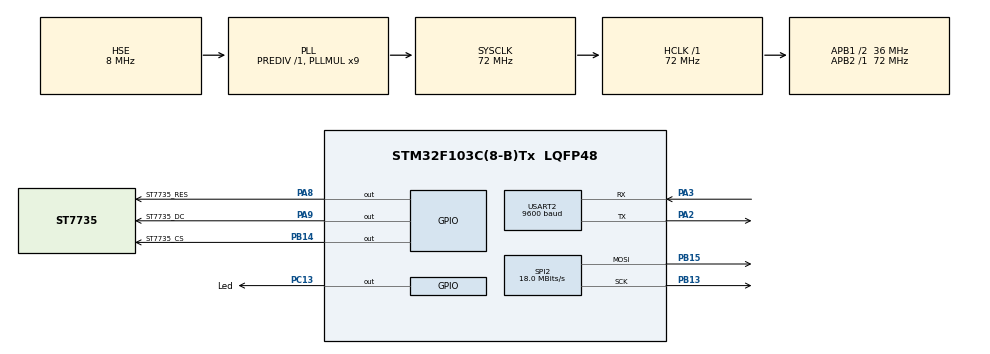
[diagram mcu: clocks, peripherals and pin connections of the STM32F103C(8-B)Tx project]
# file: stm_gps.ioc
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Mcu.Family=STM32F1
Mcu.Name=STM32F103C(8-B)Tx
Mcu.Package=LQFP48
NVIC.PriorityGroup=NVIC_PRIORITYGROUP_4
NVIC.USART2_IRQn=true\:0\:0\:false\:false\:true\:true\:true\:true
PA13.Mode=Serial_Wire
PA13.Signal=SYS_JTMS-SWDIO
PA14.Mode=Serial_Wire
PA14.Signal=SYS_JTCK-SWCLK
PA2.Mode=Asynchronous
PA2.Signal=USART2_TX
PA3.Mode=Asynchronous
PA3.Signal=USART2_RX
PA8.GPIO_Label=ST7735_RES
PA8.GPIO_Speed=GPIO_SPEED_FREQ_HIGH
PA8.PinState=GPIO_PIN_RESET
PA8.Signal=GPIO_Output
PA9.GPIO_Label=ST7735_DC
PA9.GPIO_Speed=GPIO_SPEED_FREQ_HIGH
PA9.Signal=GPIO_Output
PB13.Mode=TX_Only_Simplex_Unidirect_Master
PB13.Signal=SPI2_SCK
PB14.GPIO_Label=ST7735_CS
PB14.GPIO_Speed=GPIO_SPEED_FREQ_HIGH
PB14.Signal=GPIO_Output
PB15.Mode=TX_Only_Simplex_Unidirect_Master
PB15.Signal=SPI2_MOSI
PC13-TAMPER-RTC.GPIO_Label=Led
PC13-TAMPER-RTC.Signal=GPIO_Output
PD0-OSC_IN.Mode=HSE-External-Oscillator
PD0-OSC_IN.Signal=RCC_OSC_IN
PD1-OSC_OUT.Mode=HSE-External-Oscillator
PD1-OSC_OUT.Signal=RCC_OSC_OUT
ProjectManager.HeapSize=0x200
ProjectManager.StackSize=0x400
ProjectManager.TargetToolchain=Makefile
RCC.AHBFreq_Value=72000000
RCC.APB1CLKDivider=RCC_HCLK_DIV2
RCC.APB1Freq_Value=36000000
RCC.APB1TimFreq_Value=72000000
RCC.APB2Freq_Value=72000000
RCC.APB2TimFreq_Value=72000000
RCC.HCLKFreq_Value=72000000
RCC.PLLMUL=RCC_PLL_MUL9
RCC.PLLSourceVirtual=RCC_PLLSOURCE_HSE
RCC.SYSCLKFreq_VALUE=72000000
RCC.SYSCLKSource=RCC_SYSCLKSOURCE_PLLCLK
RCC.USBFreq_Value=72000000
SPI2.CalculateBaudRate=18.0 MBits/s
SPI2.Direction=SPI_DIRECTION_2LINES
SPI2.Mode=SPI_MODE_MASTER
SPI2.VirtualType=VM_MASTER
USART2.BaudRate=9600
USART2.VirtualMode=VM_ASYNC
board=custom

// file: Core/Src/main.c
/* USER CODE BEGIN Header */
/**
  ******************************************************************************
  * @file           : main.c
  * @brief          : Main program body
  ******************************************************************************
  * @attention
  *
  * Copyright (c) 2023 STMicroelectronics.
  * All rights reserved.
  *
  * This software is licensed under terms that can be found in the LICENSE file
  * in the root directory of this software component.
  * If no LICENSE file comes with this software, it is provided AS-IS.
  *
  ******************************************************************************
  */
/* USER CODE END Header */
#include "main.h"

/* USER CODE BEGIN Includes */
#include "st7735.h"
#include "fonts.h"
#include "gps.h"
#include "stm32f1xx_hal_gpio.h"
#include "stm32f1xx_hal_uart.h"
#include <stdbool.h>
#include <stdint.h>
#include <stdlib.h>
#include <string.h>
#include <stdio.h>
/* USER CODE END Includes */

SPI_HandleTypeDef hspi2;

UART_HandleTypeDef huart2;

/* USER CODE BEGIN PV */
ucg_t ucg;
GPGGA_t gps;
volatile char rx_char;
volatile uint8_t rx_buffer[USART_RX_BUFFER_SIZE];
volatile uint8_t rx_idx = 0;
volatile uint8_t receive_data = 0;
uint16_t xpos = 0;
uint16_t ypos = 0;
uint8_t time_zone;
const uint8_t tzone = 2;
/* USER CODE END PV */

void SystemClock_Config(void);
static void MX_GPIO_Init(void);
static void MX_USART2_UART_Init(void);
static void MX_SPI2_Init(void);

int main(void)
{

    /* MCU Configuration--------------------------------------------------------*/

    /* Reset of all peripherals, Initializes the Flash interface and the Systick. */
    HAL_Init();

    /* Configure the system clock */
    SystemClock_Config();

    /* Initialize all configured peripherals */
    MX_GPIO_Init();
    MX_USART2_UART_Init();
    MX_SPI2_Init();
    /* USER CODE BEGIN 2 */
    ucg_Init(&ucg);
    HAL_UART_Transmit_IT(&huart2, (uint8_t*)"Hello, world!\r\n", 15);
    HAL_UART_Receive_IT(&huart2, (uint8_t*)&rx_char, 1);
    /* USER CODE END 2 */

    /* Infinite loop */
    /* USER CODE BEGIN WHILE */
    while (1)
    {
        if (receive_data) {
            if (gps_parsing(&gps, (uint8_t*)rx_buffer)) {
                ucg_SetForeColor(&ucg, C_RED);
                ypos = ucg.font->chars->image->height + 1;
                if (!gps.time[0]) {
                    ucg_SetForeColor(&ucg, C_BLACK);
                    ucg_FillRectangle(&ucg, xpos + 1, 0, ST7735_WIDTH - xpos, ucg.font->chars->image->height);
                    ucg_SetForeColor(&ucg, C_RED);
                }
                gps.time[8] = 0;
                gps.time[7] = gps.time[5];
                gps.time[6] = gps.time[4];
                gps.time[5] = ':';
                gps.time[4] = gps.time[3];
                gps.time[3] = gps.time[2];
                gps.time[2] = ':';
                time_zone = (gps.time[0] - '0') * 10 + (gps.time[1] - '0');
                time_zone += 2;
                if (time_zone >= 24) {
                    time_zone -= 24;
                }
                gps.time[0] = time_zone / 10 + '0';
                gps.time[1] = time_zone % 10 + '0';
                xpos = ucg_WriteString(&ucg, 0, 0, (char*)gps.time);
                ucg_SetForeColor(&ucg, C_YELLOW);
                xpos = ucg_WriteString(&ucg, xpos + 20, 0, "Sat:");
                if (!gps.num_satelites[0]) {
                    ucg_SetForeColor(&ucg, C_BLACK);
                    ucg_FillRectangle(&ucg, xpos + 2, 0, ST7735_WIDTH - xpos, ucg.font->chars->image->height);
                    ucg_SetForeColor(&ucg, C_YELLOW);
                }
                ucg_WriteString(&ucg, xpos + 2, 0, (char*)gps.num_satelites);
                ucg_SetForeColor(&ucg, C_GREEN);
                ypos = ucg.font->chars->image->height + 1;
                xpos = ucg_WriteString(&ucg, 0, ypos, "Lat:");
                if (!gps.latitude[0]) {
                    ucg_SetForeColor(&ucg, C_BLACK);
                    ucg_FillRectangle(&ucg, xpos + 1, ypos, ST7735_WIDTH - xpos, ucg.font->chars->image->height);
                    ucg_SetForeColor(&ucg, C_GREEN);
                }
                ucg_WriteString(&ucg, xpos + 2, ypos, (char*)gps.latitude);
                xpos = ucg_WriteString(&ucg, 0, ypos * 2, "Log:");
                if (!gps.longitude[0]) {
                    ucg_SetForeColor(&ucg, C_BLACK);
                    ucg_FillRectangle(&ucg, xpos + 1, ypos * 2, ST7735_WIDTH - xpos, ucg.font->chars->image->height);
                    ucg_SetForeColor(&ucg, C_GREEN);
                }
                ucg_WriteString(&ucg, xpos + 2, ypos * 2, (char*)gps.longitude);
            }
            receive_data = false;
        }
        /* USER CODE END WHILE */

    }
}

void SystemClock_Config(void)
{
    RCC_OscInitTypeDef RCC_OscInitStruct = {0};
    RCC_ClkInitTypeDef RCC_ClkInitStruct = {0};

    /** Initializes the RCC Oscillators according to the specified parameters
     * in the RCC_OscInitTypeDef structure.
     */
    RCC_OscInitStruct.OscillatorType = RCC_OSCILLATORTYPE_HSE;
    RCC_OscInitStruct.HSEState = RCC_HSE_ON;
    RCC_OscInitStruct.HSEPredivValue = RCC_HSE_PREDIV_DIV1;
    RCC_OscInitStruct.HSIState = RCC_HSI_ON;
    RCC_OscInitStruct.PLL.PLLState = RCC_PLL_ON;
    RCC_OscInitStruct.PLL.PLLSource = RCC_PLLSOURCE_HSE;
    RCC_OscInitStruct.PLL.PLLMUL = RCC_PLL_MUL9;
    if (HAL_RCC_OscConfig(&RCC_OscInitStruct) != HAL_OK)
    {
        Error_Handler();
    }

    /** Initializes the CPU, AHB and APB buses clocks
    */
    RCC_ClkInitStruct.ClockType = RCC_CLOCKTYPE_HCLK|RCC_CLOCKTYPE_SYSCLK
        |RCC_CLOCKTYPE_PCLK1|RCC_CLOCKTYPE_PCLK2;
    RCC_ClkInitStruct.SYSCLKSource = RCC_SYSCLKSOURCE_PLLCLK;
    RCC_ClkInitStruct.AHBCLKDivider = RCC_SYSCLK_DIV1;
    RCC_ClkInitStruct.APB1CLKDivider = RCC_HCLK_DIV2;
    RCC_ClkInitStruct.APB2CLKDivider = RCC_HCLK_DIV1;

    if (HAL_RCC_ClockConfig(&RCC_ClkInitStruct, FLASH_LATENCY_2) != HAL_OK)
    {
        Error_Handler();
    }
}

static void MX_SPI2_Init(void)
{

    /* SPI2 parameter configuration*/
    hspi2.Instance = SPI2;
    hspi2.Init.Mode = SPI_MODE_MASTER;
    hspi2.Init.Direction = SPI_DIRECTION_2LINES;
    hspi2.Init.DataSize = SPI_DATASIZE_8BIT;
    hspi2.Init.CLKPolarity = SPI_POLARITY_LOW;
    hspi2.Init.CLKPhase = SPI_PHASE_1EDGE;
    hspi2.Init.NSS = SPI_NSS_SOFT;
    hspi2.Init.BaudRatePrescaler = SPI_BAUDRATEPRESCALER_2;
    hspi2.Init.FirstBit = SPI_FIRSTBIT_MSB;
    hspi2.Init.TIMode = SPI_TIMODE_DISABLE;
    hspi2.Init.CRCCalculation = SPI_CRCCALCULATION_DISABLE;
    hspi2.Init.CRCPolynomial = 10;
    if (HAL_SPI_Init(&hspi2) != HAL_OK)
    {
        Error_Handler();
    }

}

static void MX_USART2_UART_Init(void)
{

    huart2.Instance = USART2;
    huart2.Init.BaudRate = 9600;
    huart2.Init.WordLength = UART_WORDLENGTH_8B;
    huart2.Init.StopBits = UART_STOPBITS_1;
    huart2.Init.Parity = UART_PARITY_NONE;
    huart2.Init.Mode = UART_MODE_TX_RX;
    huart2.Init.HwFlowCtl = UART_HWCONTROL_NONE;
    huart2.Init.OverSampling = UART_OVERSAMPLING_16;
    if (HAL_UART_Init(&huart2) != HAL_OK)
    {
        Error_Handler();
    }

}

static void MX_GPIO_Init(void)
{
    GPIO_InitTypeDef GPIO_InitStruct = {0};

    /* GPIO Ports Clock Enable */
    __HAL_RCC_GPIOC_CLK_ENABLE();
    __HAL_RCC_GPIOD_CLK_ENABLE();
    __HAL_RCC_GPIOA_CLK_ENABLE();
    __HAL_RCC_GPIOB_CLK_ENABLE();

    /*Configure GPIO pin Output Level */
    HAL_GPIO_WritePin(Led_GPIO_Port, Led_Pin, GPIO_PIN_RESET);

    /*Configure GPIO pin Output Level */
    HAL_GPIO_WritePin(ST7735_CS_GPIO_Port, ST7735_CS_Pin, GPIO_PIN_RESET);

    /*Configure GPIO pin Output Level */
    HAL_GPIO_WritePin(GPIOA, ST7735_RES_Pin|ST7735_DC_Pin, GPIO_PIN_RESET);

    /*Configure GPIO pin : Led_Pin */
    GPIO_InitStruct.Pin = Led_Pin;
    GPIO_InitStruct.Mode = GPIO_MODE_OUTPUT_PP;
    GPIO_InitStruct.Pull = GPIO_NOPULL;
    GPIO_InitStruct.Speed = GPIO_SPEED_FREQ_LOW;
    HAL_GPIO_Init(Led_GPIO_Port, &GPIO_InitStruct);

    /*Configure GPIO pin : ST7735_CS_Pin */
    GPIO_InitStruct.Pin = ST7735_CS_Pin;
    GPIO_InitStruct.Mode = GPIO_MODE_OUTPUT_PP;
    GPIO_InitStruct.Pull = GPIO_NOPULL;
    GPIO_InitStruct.Speed = GPIO_SPEED_FREQ_HIGH;
    HAL_GPIO_Init(ST7735_CS_GPIO_Port, &GPIO_InitStruct);

    /*Configure GPIO pins : ST7735_RES_Pin ST7735_DC_Pin */
    GPIO_InitStruct.Pin = ST7735_RES_Pin|ST7735_DC_Pin;
    GPIO_InitStruct.Mode = GPIO_MODE_OUTPUT_PP;
    GPIO_InitStruct.Pull = GPIO_NOPULL;
    GPIO_InitStruct.Speed = GPIO_SPEED_FREQ_HIGH;
    HAL_GPIO_Init(GPIOA, &GPIO_InitStruct);

}

/* USER CODE BEGIN 4 */

void HAL_UART_RxCpltCallback(UART_HandleTypeDef *huart) {
    if (huart == &huart2) {
        rx_buffer[rx_idx] = rx_char;
        rx_idx++;
        if (rx_idx >= USART_RX_BUFFER_SIZE) {
            rx_idx = 0;
        }
        if (rx_char == '\r' || rx_char == '\n') {
            rx_idx = 0;
            receive_data = true;
        }
        HAL_UART_Receive_IT(&huart2, (uint8_t*)&rx_char, 1);
    }
}
/* USER CODE END 4 */

void Error_Handler(void)
{
    __disable_irq();
    while (1)
    {
    }
}

#ifdef  USE_FULL_ASSERT
/**
 * @brief  Reports the name of the source file and the source line number
 *         where the assert_param error has occurred.
 * @param  file: pointer to the source file name
 * @param  line: assert_param error line source number
 * @retval None
 */
void assert_failed(uint8_t *file, uint32_t line)
{
    /* USER CODE BEGIN 6 */
    /* User can add his own implementation to report the file name and line number,
       printf("Wrong parameters value: file %s on line %d\r\n", file, line) */
    /* USER CODE END 6 */
}
#endif /* USE_FULL_ASSERT */
